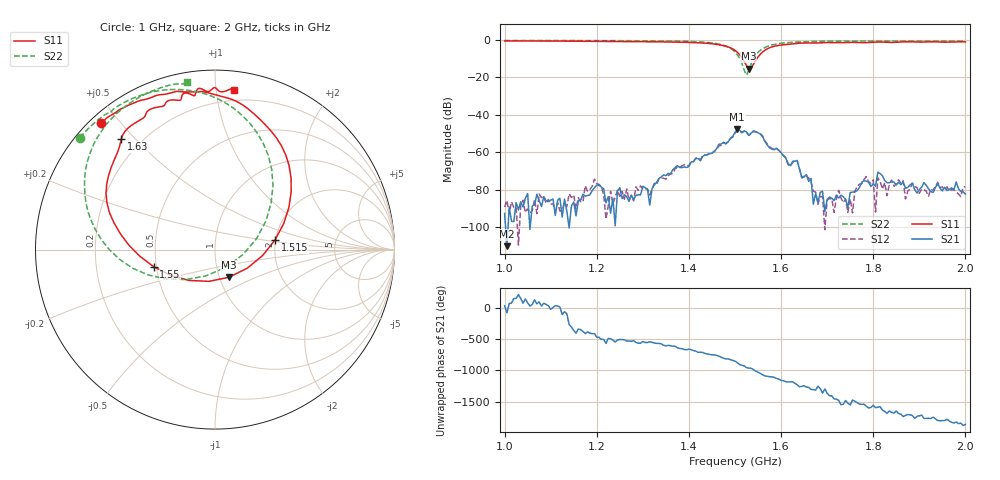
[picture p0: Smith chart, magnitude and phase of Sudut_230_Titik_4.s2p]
# Hz S RI R 50
! CMT, C1220, 16058040, 17.2.0/1
! Date: 14/08/2018 12:32:12
! Data: Format (Calibration Info)
! Freq  S11: Re/Im (F2)  S21: Re/Im (F2)  S12: Re/Im (F2)  S22: Re/Im (F2)
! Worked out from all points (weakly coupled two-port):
!   201 points, 1 GHz to 2 GHz, reference 50 ohm
!   highest |S21| = -47.75 dB at 1.505 GHz (marker M1); lowest = -110.2 dB at 1.005 GHz (marker M2)
!   lowest |S11| = -15.3 dB at 1.53 GHz (marker M3), VSWR 1.42, Z = 55.5 - j17.6 ohm
!   |S11| at or under -10 dB: 1.516 GHz to 1.547 GHz (30.85 MHz wide, 2.01 % of centre)
!   |S22| runs from -18.8 to -0.2 dB; largest |S21 - S12| = 0.00049
!   S11 on the Smith chart (normalised r, x): 1 GHz: 0.03, +0.45; 1.515 GHz: 1.98, +0.24; 1.55 GHz: 0.48, -0.11; 1.63 GHz: 0.13, +0.46; 2 GHz: 0.12, +1.12
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1e9  -0.6328 0.7081  1.87e-05 1.37e-05  -3.14e-05 1.42e-05  -0.7533 0.6237
1.005e9  -0.6258 0.7132  8.19e-07 -2.98e-06  -4.77e-05 -1.96e-05  -0.7498 0.6278
1.17e9  -0.4557 0.8155  7.39e-05 -1.74e-05  3.86e-05 -2.7e-05  -0.6173 0.749
1.195e9  -0.4179 0.8303  7.34e-05 -8.65e-05  0.000105 -0.000162  -0.5883 0.7621
1.215e9  -0.3978 0.8347  -8.31e-05 -6.53e-05  -7.15e-05 -9.81e-06  -0.5767 0.7709
1.315e9  -0.2187 0.8808  -3.9e-05 3.35e-07  -7.22e-05 4.03e-06  -0.4397 0.8504
1.335e9  -0.1913 0.8802  -0.00018 8.61e-05  -0.000161 0.000107  -0.402 0.8634
1.45e9  0.1968 0.7737  0.000819 -0.000458  0.000808 -0.000488  0.0194 0.8381
1.5e9  0.4245 0.3216  -0.00221 -0.00257  -0.0021 -0.00241  0.323 0.3557
1.505e9  0.412 0.2358  -0.00374 -0.00168  -0.00353 -0.00173  0.3127 0.2601
1.515e9  0.334 0.0528  -0.00318 0.00096  -0.00327 0.000913  0.2306 0.0595
1.53e9  0.0778 -0.154  -0.00134 0.00247  -0.00129 0.00255  -0.0486 -0.1459
1.55e9  -0.3412 -0.0955  0.00212 0.00258  0.00195 0.00268  -0.4596 -0.1035
1.615e9  -0.5396 0.5515  -0.000127 -0.0005  -0.000185 -0.000432  -0.7155 0.4725
1.63e9  -0.5217 0.6177  -0.000337 -0.000475  -0.000335 -0.000523  -0.6938 0.5432
1.67e9  -0.4032 0.7305  -2.79e-05 3.01e-05  -3.8e-05 8.38e-05  -0.6253 0.6713
1.76e9  -0.2439 0.8336  5.37e-05 -7.02e-05  5.45e-05 -6.84e-05  -0.4834 0.8099
1.785e9  -0.1902 0.8344  -0.000116 -0.000125  -0.000163 -0.000156  -0.4472 0.8338
1.805e9  -0.1793 0.8668  -0.000115 -4.7e-05  -2.33e-05 9.67e-06  -0.4192 0.8508
1.81e9  -0.1723 0.8714  -0.000251 -0.000151  0.000205 2.92e-05  -0.413 0.8547
1.835e9  -0.1202 0.8581  -0.000133 7.69e-05  -7.23e-05 0.00012  -0.3788 0.8714
2e9  0.1067 0.8914  2.96e-05 -7.04e-05  5.33e-05 -0.000109  -0.1556 0.9316
